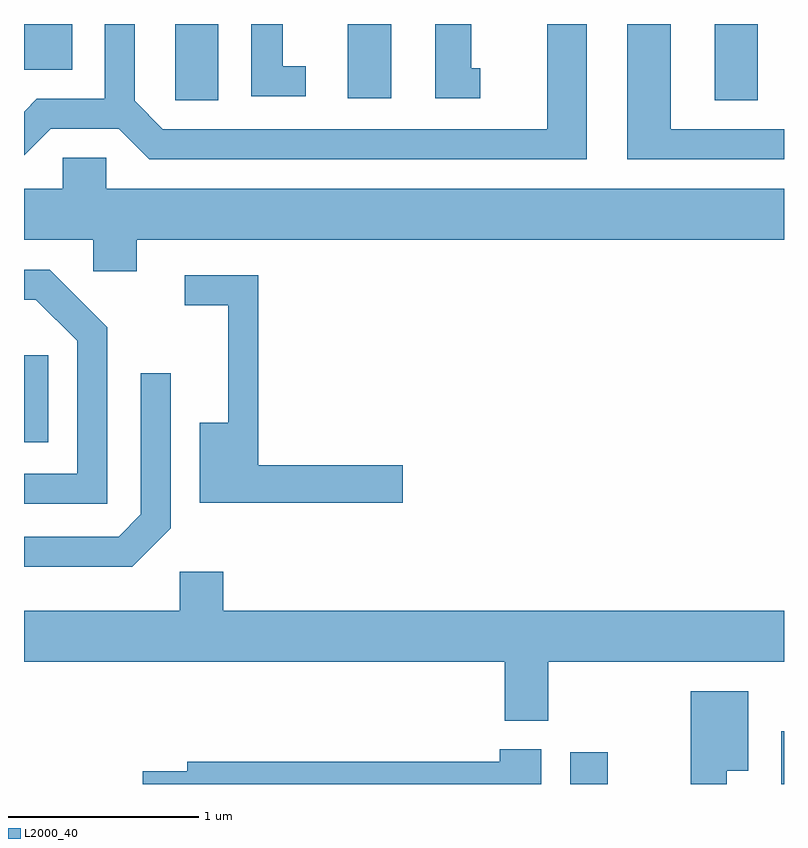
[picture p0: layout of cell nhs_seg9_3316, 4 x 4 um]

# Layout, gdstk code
import gdstk
lib = gdstk.Library(unit=1e-6, precision=1e-09)
def R(c, l, rs):  # rectangles x0, y0, x1, y1
    for r in rs: c.add(gdstk.rectangle(r[:2], r[2:], *l))
def P(c, l, *ps):  # polygons
    for p in ps: c.add(gdstk.Polygon(p, *l))
L2000_40 = (2000, 40)

nhs_seg9_3316 = lib.new_cell('nhs_seg9_3316')
R(nhs_seg9_3316, L2000_40, [(284.486,2064.432,284.684,2064.599), (285.596,2064.432,285.611,2064.709), (281.611,2066.231,281.739,2066.689), (282.406,2068.031,282.634,2068.432), (285.246,2068.031,285.474,2068.432), (283.316,2068.041,283.544,2068.432), (281.611,2068.191,281.864,2068.432)])
P(nhs_seg9_3316, L2000_40, [(285.611,2067.879),(285.014,2067.879),(285.014,2068.432),(284.786,2068.432),(284.786,2067.721),(285.611,2067.721)],
  [(283.093,2068.209),(282.974,2068.209),(282.974,2068.432),(282.806,2068.432),(282.806,2068.051),(283.093,2068.051)],
  [(284.013,2068.199),(283.964,2068.199),(283.964,2068.432),(283.776,2068.432),(283.776,2068.041),(284.013,2068.041)],
  [(284.574,2068.432),(284.366,2068.432),(284.366,2067.879),(282.342,2067.879),(282.194,2068.027),(282.194,2068.432),(282.036,2068.432),(282.036,2068.039),(281.679,2068.039),(281.611,2067.971),(281.611,2067.74),(281.752,2067.881),(282.109,2067.881),(282.269,2067.721),(284.574,2067.721)],
  [(282.204,2067.296),(285.611,2067.296),(285.611,2067.564),(282.044,2067.564),(282.044,2067.729),(281.816,2067.729),(281.816,2067.564),(281.611,2067.564),(281.611,2067.296),(281.976,2067.296),(281.976,2067.131),(282.204,2067.131)],
  [(282.049,2066.837),(281.747,2067.139),(281.611,2067.139),(281.611,2066.981),(281.674,2066.981),(281.891,2066.764),(281.891,2066.064),(281.611,2066.064),(281.611,2065.906),(282.049,2065.906)],
  [(283.604,2066.109),(282.844,2066.109),(282.844,2067.109),(282.458,2067.109),(282.458,2066.951),(282.686,2066.951),(282.686,2066.334),(282.536,2066.334),(282.536,2065.911),(283.604,2065.911)],
  [(282.384,2065.779),(282.384,2066.593),(282.226,2066.593),(282.226,2065.852),(282.109,2065.734),(281.611,2065.734),(281.611,2065.576),(282.182,2065.576)],
  [(284.369,2065.076),(285.611,2065.076),(285.611,2065.344),(282.659,2065.344),(282.659,2065.549),(282.431,2065.549),(282.431,2065.344),(281.611,2065.344),(281.611,2065.076),(284.141,2065.076),(284.141,2064.766),(284.369,2064.766)],
  [(285.309,2064.501),(285.424,2064.501),(285.424,2064.919),(285.121,2064.919),(285.121,2064.432),(285.309,2064.432)],
  [(284.334,2064.614),(284.116,2064.614),(284.116,2064.549),(282.471,2064.549),(282.471,2064.499),(282.236,2064.499),(282.236,2064.432),(284.334,2064.432)])

lib.write_gds('nhs_seg9_3316.gds')
